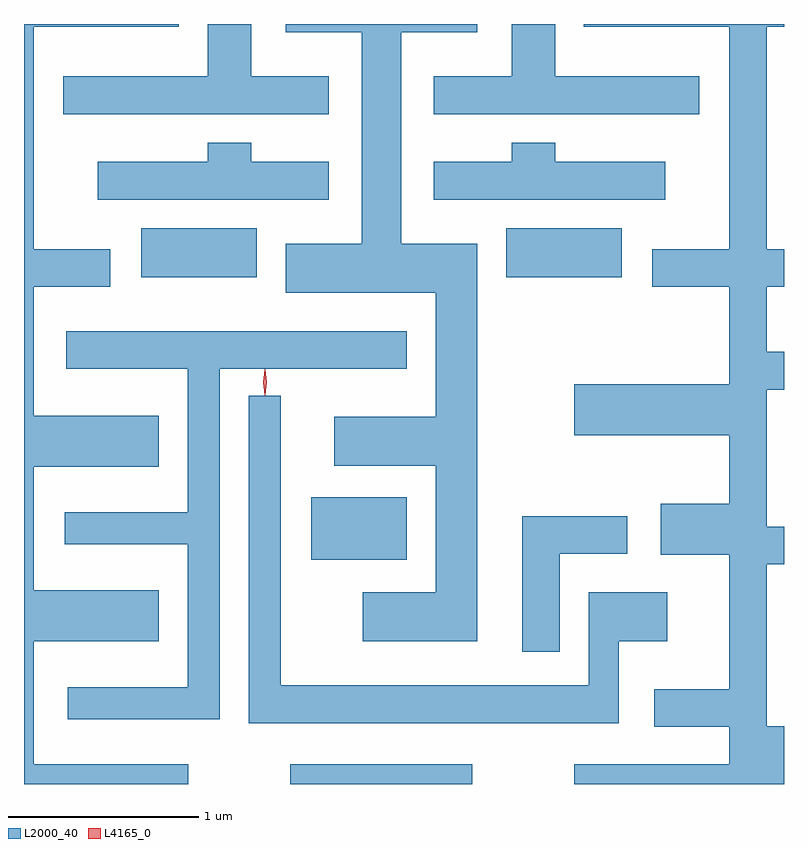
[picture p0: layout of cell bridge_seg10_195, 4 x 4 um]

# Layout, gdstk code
import gdstk
lib = gdstk.Library(unit=1e-6, precision=1e-09)
def R(c, l, rs):  # rectangles x0, y0, x1, y1
    for r in rs: c.add(gdstk.rectangle(r[:2], r[2:], *l))
def P(c, l, *ps):  # polygons
    for p in ps: c.add(gdstk.Polygon(p, *l))
L2000_40 = (2000, 40)
L4165_0 = (4165, 0)

bridge_seg10_195 = lib.new_cell('bridge_seg10_195')
R(bridge_seg10_195, L2000_40, [(1743.061,2140.13,1744.019,2140.234), (1743.171,2141.311,1743.674,2141.639), (1742.276,2142.796,1742.884,2143.054), (1744.196,2142.796,1744.804,2143.054)])
P(bridge_seg10_195, L2000_40, [(1744.044,2142.974),(1743.644,2142.974),(1743.644,2144.086),(1744.044,2144.086),(1744.044,2144.13),(1743.036,2144.13),(1743.036,2144.086),(1743.436,2144.086),(1743.436,2142.974),(1743.036,2142.974),(1743.036,2142.716),(1743.826,2142.716),(1743.826,2142.064),(1743.291,2142.064),(1743.291,2141.806),(1743.826,2141.806),(1743.826,2141.139),(1743.441,2141.139),(1743.441,2140.881),(1744.044,2140.881)],
  [(1742.524,2140.234),(1741.709,2140.234),(1741.709,2140.881),(1742.369,2140.881),(1742.369,2141.149),(1741.709,2141.149),(1741.709,2141.801),(1742.369,2141.801),(1742.369,2142.069),(1741.709,2142.069),(1741.709,2142.746),(1742.114,2142.746),(1742.114,2142.944),(1741.709,2142.944),(1741.709,2144.116),(1742.474,2144.116),(1742.474,2144.13),(1741.659,2144.13),(1741.659,2140.13),(1742.524,2140.13)],
  [(1745.659,2140.434),(1745.569,2140.434),(1745.569,2141.286),(1745.659,2141.286),(1745.659,2141.484),(1745.569,2141.484),(1745.569,2142.206),(1745.659,2142.206),(1745.659,2142.404),(1745.569,2142.404),(1745.569,2142.746),(1745.659,2142.746),(1745.659,2142.944),(1745.569,2142.944),(1745.569,2144.116),(1745.659,2144.116),(1745.659,2144.13),(1744.606,2144.13),(1744.606,2144.116),(1745.371,2144.116),(1745.371,2142.944),(1744.966,2142.944),(1744.966,2142.746),(1745.371,2142.746),(1745.371,2142.234),(1744.556,2142.234),(1744.556,2141.966),(1745.371,2141.966),(1745.371,2141.604),(1745.011,2141.604),(1745.011,2141.336),(1745.371,2141.336),(1745.371,2140.629),(1744.976,2140.629),(1744.976,2140.431),(1745.371,2140.431),(1745.371,2140.234),(1744.556,2140.234),(1744.556,2140.13),(1745.659,2140.13)],
  [(1743.264,2143.854),(1742.854,2143.854),(1742.854,2144.13),(1742.626,2144.13),(1742.626,2143.854),(1741.866,2143.854),(1741.866,2143.656),(1743.264,2143.656)],
  [(1745.214,2143.854),(1744.454,2143.854),(1744.454,2144.13),(1744.226,2144.13),(1744.226,2143.854),(1743.816,2143.854),(1743.816,2143.656),(1745.214,2143.656)],
  [(1745.034,2143.404),(1744.454,2143.404),(1744.454,2143.504),(1744.226,2143.504),(1744.226,2143.404),(1743.816,2143.404),(1743.816,2143.206),(1745.034,2143.206)],
  [(1743.264,2143.404),(1742.854,2143.404),(1742.854,2143.504),(1742.626,2143.504),(1742.626,2143.404),(1742.046,2143.404),(1742.046,2143.206),(1743.264,2143.206)],
  [(1742.689,2142.316),(1743.674,2142.316),(1743.674,2142.514),(1741.881,2142.514),(1741.881,2142.316),(1742.521,2142.316),(1742.521,2141.559),(1741.873,2141.559),(1741.873,2141.391),(1742.521,2141.391),(1742.521,2140.639),(1741.888,2140.639),(1741.888,2140.471),(1742.689,2140.471)],
  [(1744.789,2140.881),(1745.044,2140.881),(1745.044,2141.139),(1744.631,2141.139),(1744.631,2140.649),(1743.009,2140.649),(1743.009,2142.173),(1742.841,2142.173),(1742.841,2140.451),(1744.789,2140.451)],
  [(1744.479,2141.341),(1744.834,2141.341),(1744.834,2141.539),(1744.281,2141.539),(1744.281,2140.826),(1744.479,2140.826)])
P(bridge_seg10_195, L4165_0, [(1742.927,2142.178),(1742.927,2142.178),(1742.917,2142.244),(1742.927,2142.311),(1742.927,2142.311),(1742.928,2142.311),(1742.937,2142.244),(1742.928,2142.178)],
  [(1742.927,2142.174),(1742.927,2142.175),(1742.917,2142.244),(1742.927,2142.313),(1742.927,2142.314),(1742.928,2142.313),(1742.937,2142.244),(1742.928,2142.175)])

lib.write_gds('bridge_seg10_195.gds')
